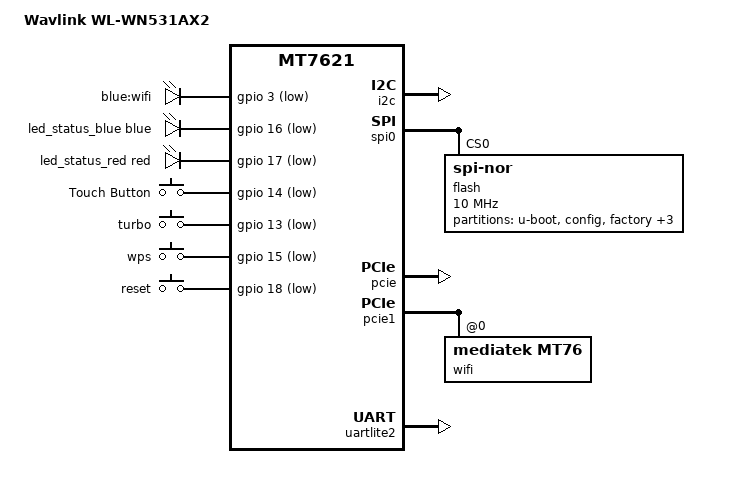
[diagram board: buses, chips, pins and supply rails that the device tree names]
// SPDX-License-Identifier: GPL-2.0-or-later OR MIT

#include "mt7621.dtsi"

#include <dt-bindings/gpio/gpio.h>
#include <dt-bindings/input/input.h>
#include <dt-bindings/leds/common.h>

/ {
	compatible = "wavlink,wl-wn531ax2", "mediatek,mt7621-rfb-nor", "mt7621-rfb-ax-nor", "mediatek,mt7621-soc";
	model = "Wavlink WL-WN531AX2";

	aliases {
		led-boot = &led_status_blue;
		led-failsafe = &led_status_red;
		led-running = &led_status_blue;
		led-upgrade = &led_status_red;
		label-mac-device = &gmac0;
	};


	chosen {
		bootargs = "console=ttyS0,115200";
	};

	leds {
		compatible = "gpio-leds";

		wifi {
			label = "blue:wifi";
			gpios = <&gpio 3 GPIO_ACTIVE_LOW>;
			linux,default-trigger = "phy0tpt";
		};

		led_status_blue:status_blue {
			function = LED_FUNCTION_STATUS;
			color = <LED_COLOR_ID_BLUE>;
			gpios = <&gpio 16 GPIO_ACTIVE_LOW>;
		};

		led_status_red: status_red {
			function = LED_FUNCTION_STATUS;
			color = <LED_COLOR_ID_RED>;
			gpios = <&gpio 17 GPIO_ACTIVE_LOW>;
		};
	};

	keys {
		compatible = "gpio-keys";

		touch { /* RH6015C touch sensor -> GPIO 14 */
			label = "Touch Button";
			gpios = <&gpio 14 GPIO_ACTIVE_LOW>;
			linux,code = <BTN_0>;
		};

		turbo {
			label = "turbo";
			gpios = <&gpio 13 GPIO_ACTIVE_LOW>;
			linux,code = <BTN_1>;
		};

		wps {
			label = "wps";
			gpios = <&gpio 15 GPIO_ACTIVE_LOW>;
			linux,code = <KEY_WPS_BUTTON>;
		};

		reset {
			label = "reset";
			gpios = <&gpio 18 GPIO_ACTIVE_LOW>;
			linux,code = <KEY_RESTART>;
		};
	};

};

&i2c {
	status = "okay";
};

&spi0 {
	status = "okay";

	flash@0 {
		compatible = "jedec,spi-nor";
		reg = <0>;
		spi-max-frequency = <0x989680>;
		partitions {
			compatible = "fixed-partitions";
			#address-cells = <1>;
			#size-cells = <1>;

			partition@0 {
				label = "u-boot";
				reg = <0x00000 0x30000>;
			};

			partition@30000 {
				label = "config";
				reg = <0x30000 0x10000>;
			};

			partition@50000 {
				label = "factory";
				reg = <0x50000 0x40000>;
				read-only;

				nvmem-layout {
					compatible = "fixed-layout";
					#address-cells = <1>;
					#size-cells = <1>;

					eeprom_factory_0: eeprom@0 {
						reg = <0x0 0xe00>;
					};

					macaddr_factory_3fff4: macaddr@3fff4 {
						reg = <0x3fff4 0x6>;
					};

					macaddr_factory_3fffa: macaddr@3fffa {
						reg = <0x3fffa 0x6>;
					};

				};
			};

			partition@90000 {
				label = "firmware";
				reg = <0x90000 0xf70000>;
				compatible = "fixed-partitions";
				#address-cells = <1>;
				#size-cells = <1>;

				kernel@0 {
					reg = <0x0 0x400000>;
				};

				rootfs@400000 {
					reg = <0x400000 0xb70000>;
				};
			};
		};
	};
};

&pcie {
	status = "okay";
};

&pcie1 {
	wifi@0,0 {
		compatible = "mediatek,mt76";
		reg = <0x0000 0 0 0 0>;
		nvmem-cells = <&eeprom_factory_0>;
		nvmem-cell-names = "eeprom";
		mediatek,disable-radar-background;
	};
};

&ethernet {
	pinctrl-0 = <&mdio_pins>, <&rgmii1_pins>;
};

&gmac0 {
	nvmem-cells = <&macaddr_factory_3fff4>;
	nvmem-cell-names = "mac-address";
};

&switch0 {
	ports {
		port0: port@0 {
			status = "okay";
		};

		port1: port@1 {
			status = "okay";
		};

		port2: port@2 {
			status = "okay";
		};

		port3: port@3 {
			status = "okay";
		};

		port@4 {
			status = "okay";
			label = "wan";
			nvmem-cells = <&macaddr_factory_3fffa>;
			nvmem-cell-names = "mac-address";
		};
	};
};

&port0{
	label = "lan1";
};

&port1{
	label = "lan2";
};

&port2{
	label = "lan3";
};

&port3{
	label = "lan4";
};

&state_default {
	gpio {
		groups = "rgmii2", "jtag", "wdt";
		function = "gpio";
	};
};

&uartlite2 {
	status = "okay";
};
